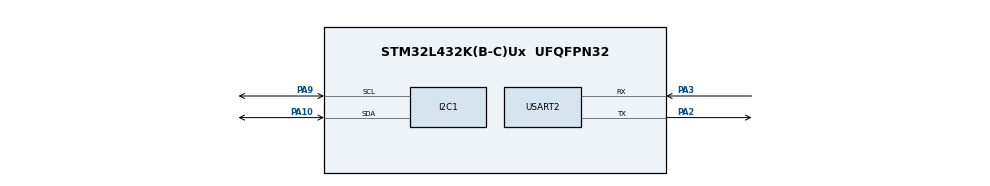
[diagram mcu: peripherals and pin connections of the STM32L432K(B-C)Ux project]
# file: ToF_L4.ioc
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I2C1.Timing=0x00100D14
Mcu.Family=STM32L4
Mcu.Name=STM32L432K(B-C)Ux
Mcu.Package=UFQFPN32
NVIC.PriorityGroup=NVIC_PRIORITYGROUP_4
PA10.Mode=I2C
PA10.Signal=I2C1_SDA
PA2.Mode=Asynchronous
PA2.Signal=USART2_TX
PA3.Mode=Asynchronous
PA3.Signal=USART2_RX
PA9.Mode=I2C
PA9.Signal=I2C1_SCL
ProjectManager.HeapSize=0x200
ProjectManager.StackSize=0x400
ProjectManager.TargetToolchain=Makefile
RCC.HSE_VALUE=8000000
RCC.HSI48_VALUE=48000000
RCC.HSI_VALUE=16000000
RCC.LSE_VALUE=32768
RCC.MSI_VALUE=4000000
RCC.VCOOutputFreq_Value=32000000
USART2.VirtualMode-Asynchronous=VM_ASYNC
board=custom

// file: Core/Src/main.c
/* USER CODE BEGIN Header */
/**
  ******************************************************************************
  * @file           : main.c
  * @brief          : Main program body
  ******************************************************************************
  * @attention
  *
  * Copyright (c) 2025 STMicroelectronics.
  * All rights reserved.
  *
  * This software is licensed under terms that can be found in the LICENSE file
  * in the root directory of this software component.
  * If no LICENSE file comes with this software, it is provided AS-IS.
  *
  ******************************************************************************
  */

/*
  ******************************************************************************
  * VL53L1X Code
  * STM32L432KC
  * PIN Configuration:
  * I2C1_SCL -> PB10
  * I2C1_SDA -> PB9
  * USART2 Asynchronous
  ******************************************************************************
*/

/* USER CODE END Header */
#include "main.h"

/* USER CODE BEGIN Includes */
#include "vl53l1_platform.h"

/* USER CODE END Includes */

I2C_HandleTypeDef hi2c1;

UART_HandleTypeDef huart2;

void SystemClock_Config(void);
static void MX_GPIO_Init(void);
static void MX_I2C1_Init(void);
static void MX_USART2_UART_Init(void);

int main(void)
{

  /* MCU Configuration--------------------------------------------------------*/

  /* Reset of all peripherals, Initializes the Flash interface and the Systick. */
  HAL_Init();

  /* Configure the system clock */
  SystemClock_Config();

  /* Initialize all configured peripherals */
  MX_GPIO_Init();
  MX_I2C1_Init();
  MX_USART2_UART_Init();
  /* USER CODE BEGIN 2 */

VL53L1_Dev_t  vl53l1_c;
VL53L1_DEV    Dev = &vl53l1_c;

memset(Dev, 0, sizeof(VL53L1_Dev_t));

Dev->i2c_slave_address = 0x52;    // 0x29 << 1
Dev->comms_type        = 1;       // I2C
Dev->comms_speed_khz   = 400;

int status;

// Initialize the VL53L1X sensor

status = VL53L1_DataInit(Dev);
status = VL53L1_StaticInit(Dev);
status = VL53L1_SetDistanceMode(Dev, VL53L1_DISTANCEMODE_SHORT);
status = VL53L1_SetMeasurementTimingBudgetMicroSeconds(Dev, 33000);
status = VL53L1_SetInterMeasurementPeriodMilliSeconds(Dev, 100);
status = VL53L1_StartMeasurement(Dev);

char Payload[50];
  /* USER CODE END 2 */

  /* Infinite loop */
  /* USER CODE BEGIN WHILE */
while (1)
{
    VL53L1_RangingMeasurementData_t RangingData;
    uint8_t dataReady = 0;

    status = VL53L1_GetMeasurementDataReady(Dev, &dataReady);

    if (status != VL53L1_ERROR_NONE) {
        sprintf(Payload, "GetReady error=%d\r\n", status);
        HAL_UART_Transmit(&huart2, (uint8_t*)Payload, strlen(Payload), 0xFFFF);
        HAL_Delay(100);
        continue;
    }

    if (dataReady == 0) {
        HAL_Delay(5);
        continue;
    }

    status = VL53L1_GetRangingMeasurementData(Dev, &RangingData);
    if (status == VL53L1_ERROR_NONE) {
        uint16_t distanza_mm = RangingData.RangeMilliMeter;
        sprintf(Payload, "Dist: %u mm\r\n", distanza_mm);
        HAL_UART_Transmit(&huart2, (uint8_t*)Payload, strlen(Payload), 0xFFFF);
    } else {
        sprintf(Payload, "GetData error =%d\r\n", status);
        HAL_UART_Transmit(&huart2, (uint8_t*)Payload, strlen(Payload), 0xFFFF);
    }

    VL53L1_ClearInterruptAndStartMeasurement(Dev);
    HAL_Delay(50);
}
  /* USER CODE END 3 */
}

void SystemClock_Config(void)
{
  RCC_OscInitTypeDef RCC_OscInitStruct = {0};
  RCC_ClkInitTypeDef RCC_ClkInitStruct = {0};

  /** Configure the main internal regulator output voltage
  */
  if (HAL_PWREx_ControlVoltageScaling(PWR_REGULATOR_VOLTAGE_SCALE1) != HAL_OK)
  {
    Error_Handler();
  }

  /** Initializes the RCC Oscillators according to the specified parameters
  * in the RCC_OscInitTypeDef structure.
  */
  RCC_OscInitStruct.OscillatorType = RCC_OSCILLATORTYPE_MSI;
  RCC_OscInitStruct.MSIState = RCC_MSI_ON;
  RCC_OscInitStruct.MSICalibrationValue = 0;
  RCC_OscInitStruct.MSIClockRange = RCC_MSIRANGE_6;
  RCC_OscInitStruct.PLL.PLLState = RCC_PLL_NONE;
  if (HAL_RCC_OscConfig(&RCC_OscInitStruct) != HAL_OK)
  {
    Error_Handler();
  }

  /** Initializes the CPU, AHB and APB buses clocks
  */
  RCC_ClkInitStruct.ClockType = RCC_CLOCKTYPE_HCLK|RCC_CLOCKTYPE_SYSCLK
                              |RCC_CLOCKTYPE_PCLK1|RCC_CLOCKTYPE_PCLK2;
  RCC_ClkInitStruct.SYSCLKSource = RCC_SYSCLKSOURCE_MSI;
  RCC_ClkInitStruct.AHBCLKDivider = RCC_SYSCLK_DIV1;
  RCC_ClkInitStruct.APB1CLKDivider = RCC_HCLK_DIV1;
  RCC_ClkInitStruct.APB2CLKDivider = RCC_HCLK_DIV1;

  if (HAL_RCC_ClockConfig(&RCC_ClkInitStruct, FLASH_LATENCY_0) != HAL_OK)
  {
    Error_Handler();
  }
}

static void MX_I2C1_Init(void)
{

  hi2c1.Instance = I2C1;
  hi2c1.Init.Timing = 0x00100D14;
  hi2c1.Init.OwnAddress1 = 0;
  hi2c1.Init.AddressingMode = I2C_ADDRESSINGMODE_7BIT;
  hi2c1.Init.DualAddressMode = I2C_DUALADDRESS_DISABLE;
  hi2c1.Init.OwnAddress2 = 0;
  hi2c1.Init.OwnAddress2Masks = I2C_OA2_NOMASK;
  hi2c1.Init.GeneralCallMode = I2C_GENERALCALL_DISABLE;
  hi2c1.Init.NoStretchMode = I2C_NOSTRETCH_DISABLE;
  if (HAL_I2C_Init(&hi2c1) != HAL_OK)
  {
    Error_Handler();
  }

  /** Configure Analogue filter
  */
  if (HAL_I2CEx_ConfigAnalogFilter(&hi2c1, I2C_ANALOGFILTER_ENABLE) != HAL_OK)
  {
    Error_Handler();
  }

  /** Configure Digital filter
  */
  if (HAL_I2CEx_ConfigDigitalFilter(&hi2c1, 0) != HAL_OK)
  {
    Error_Handler();
  }

}

static void MX_USART2_UART_Init(void)
{

  huart2.Instance = USART2;
  huart2.Init.BaudRate = 115200;
  huart2.Init.WordLength = UART_WORDLENGTH_8B;
  huart2.Init.StopBits = UART_STOPBITS_1;
  huart2.Init.Parity = UART_PARITY_NONE;
  huart2.Init.Mode = UART_MODE_TX_RX;
  huart2.Init.HwFlowCtl = UART_HWCONTROL_NONE;
  huart2.Init.OverSampling = UART_OVERSAMPLING_16;
  huart2.Init.OneBitSampling = UART_ONE_BIT_SAMPLE_DISABLE;
  huart2.AdvancedInit.AdvFeatureInit = UART_ADVFEATURE_NO_INIT;
  if (HAL_UART_Init(&huart2) != HAL_OK)
  {
    Error_Handler();
  }

}

static void MX_GPIO_Init(void)
{

  /* GPIO Ports Clock Enable */
  __HAL_RCC_GPIOA_CLK_ENABLE();

}

void Error_Handler(void)
{
  __disable_irq();
  while (1)
  {
  }
}
